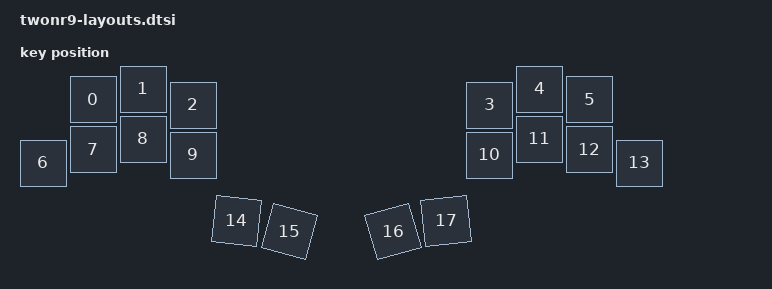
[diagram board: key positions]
#include <physical_layouts.dtsi>

/ {
    physical_layout_twonr9: physical_layout_twonr9 {
        compatible = "zmk,physical-layout";
        display-name = "TwoNr9";
        keys  //                     w   h    x    y     rot    rx    ry
            = <&key_physical_attrs 100 100  100   21       0   100    21>
            , <&key_physical_attrs 100 100  200    0       0   200     0>
            , <&key_physical_attrs 100 100  300   32       0   300    32>
            , <&key_physical_attrs 100 100  893   32       0   893    32>
            , <&key_physical_attrs 100 100  993    0       0   993     0>
            , <&key_physical_attrs 100 100 1093   21       0  1093    21>
            , <&key_physical_attrs 100 100    0  148       0     0   148>
            , <&key_physical_attrs 100 100  100  121       0   100   121>
            , <&key_physical_attrs 100 100  200  100       0   200   100>
            , <&key_physical_attrs 100 100  300  132       0   300   132>
            , <&key_physical_attrs 100 100  893  132       0   893   132>
            , <&key_physical_attrs 100 100  993  100       0   993   100>
            , <&key_physical_attrs 100 100 1093  121       0  1093   121>
            , <&key_physical_attrs 100 100 1193  148       0  1193   148>
            , <&key_physical_attrs 100 100  387  264     600   437   314>
            , <&key_physical_attrs 100 100  493  285    1600   543   335>
            , <&key_physical_attrs 100 100  700  285 (-1600)   750   335>
            , <&key_physical_attrs 100 100  806  264  (-600)   856   314>
            ;
    };
};
